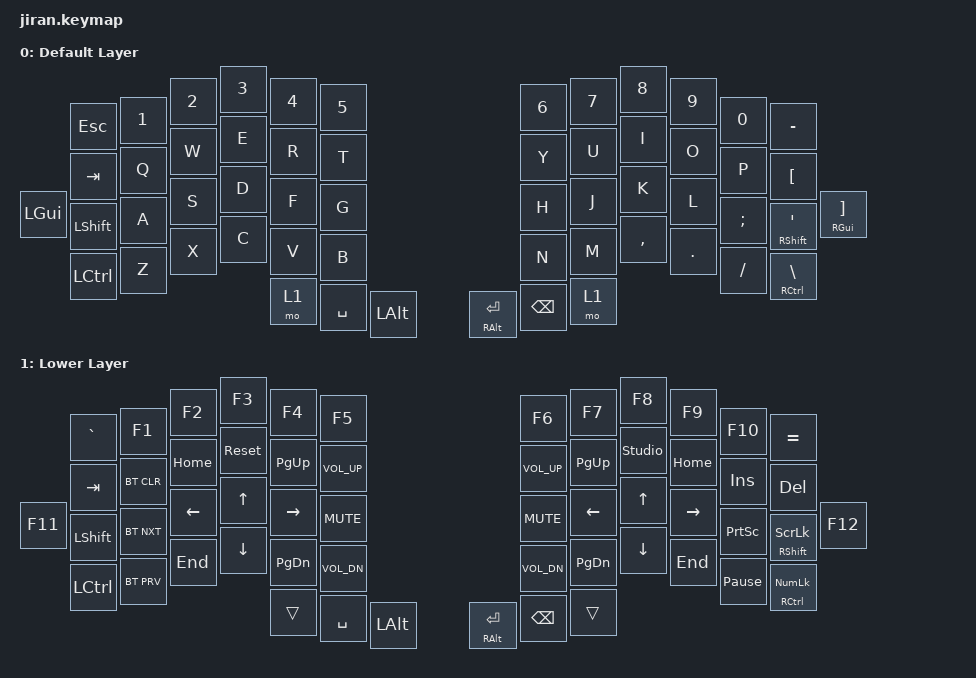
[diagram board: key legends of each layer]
/*
 * Copyright (c) 2021 The ZMK Contributors
 *
 * SPDX-License-Identifier: MIT
 */

#include <behaviors.dtsi>
#include <dt-bindings/zmk/keys.h>
#include <dt-bindings/zmk/bt.h>

/ {
        keymap {
                compatible = "zmk,keymap";

                default_layer {
                        display-name = "Default Layer";
                        bindings = <
           &kp ESC    &kp N1 &kp N2 &kp N3 &kp N4 &kp N5    &kp N6 &kp N7  &kp N8    &kp N9  &kp N0   &kp MINUS
  &kp LGUI &kp TAB    &kp Q  &kp W  &kp E  &kp R  &kp T     &kp Y  &kp U   &kp I     &kp O   &kp P    &kp LBKT      &mt RGUI RBKT
           &kp LSHIFT &kp A  &kp S  &kp D  &kp F  &kp G     &kp H  &kp J   &kp K     &kp L   &kp SEMI &mt RSHIFT SQT
           &kp LCTRL  &kp Z  &kp X  &kp C  &kp V  &kp B     &kp N  &kp M   &kp COMMA &kp DOT &kp FSLH &mt RCTRL BSLH
                                 &mo 1 &kp SPACE  &kp LALT  &mt RALT RET &kp BSPC &mo 1
                        >;
                };

                lower_layer {
                       display-name = "Lower Layer";
                       bindings = <
          &kp GRAVE   &kp F1      &kp F2   &kp F3   &kp F4    &kp F5        &kp F6       &kp F7    &kp F8   &kp F9    &kp F10         &kp EQUAL
 &kp F11  &kp TAB     &bt BT_CLR  &kp HOME &sys_reset   &kp PG_UP &kp C_VOL_UP  &kp C_VOL_UP &kp PG_UP &studio_unlock &kp HOME  &kp INS         &kp DEL       &kp F12
          &kp LSHIFT  &bt BT_NXT  &kp LEFT &kp UP   &kp RIGHT &kp C_MUTE    &kp C_MUTE   &kp LEFT  &kp UP   &kp RIGHT &kp PSCRN       &mt RSHIFT SLCK
          &kp LCTRL   &bt BT_PRV  &kp END  &kp DOWN &kp PG_DN &kp C_VOL_DN  &kp C_VOL_DN &kp PG_DN &kp DOWN &kp END   &kp PAUSE_BREAK &mt RCTRL KP_NUM
                                         &trans   &kp SPACE   &kp LALT      &mt RALT RET &kp BSPC  &trans
                       >;
               };
        };
};
